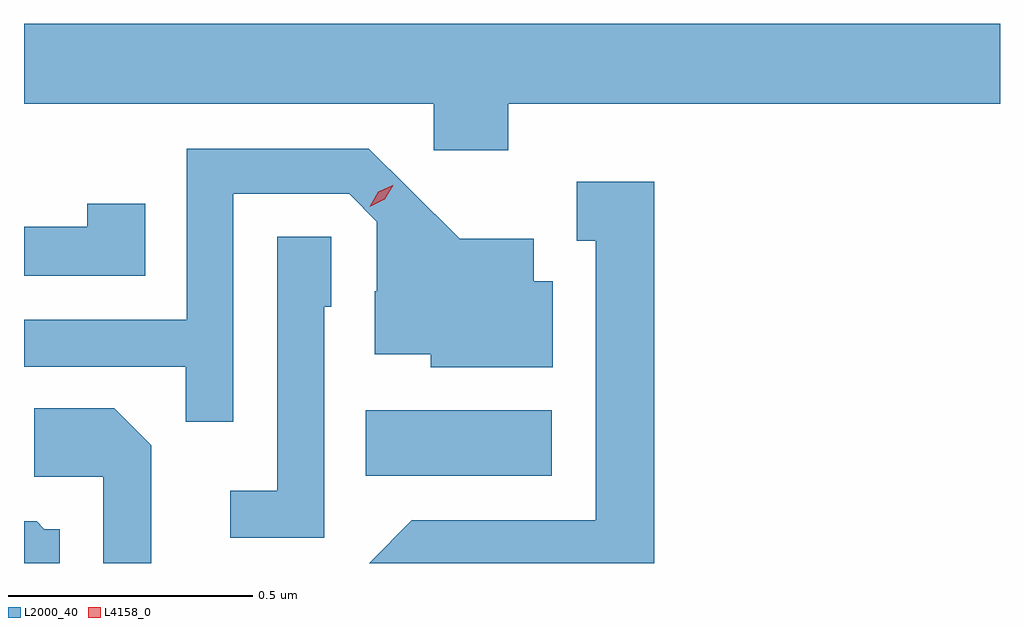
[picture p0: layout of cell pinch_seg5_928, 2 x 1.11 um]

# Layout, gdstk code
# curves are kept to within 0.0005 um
import gdstk
lib = gdstk.Library(unit=1e-6, precision=1e-09)
def R(c, l, rs):  # rectangles x0, y0, x1, y1
    for r in rs: c.add(gdstk.rectangle(r[:2], r[2:], *l))
def P(c, l, *ps):  # polygons
    for p in ps: c.add(gdstk.Polygon(p, *l))
L2000_40 = (2000, 40)
L4158_0 = (4158, 0)

pinch_seg5_928 = lib.new_cell('pinch_seg5_928')
R(pinch_seg5_928, L2000_40, [(706.798,910.61,707.179,910.744)])
P(pinch_seg5_928, L2000_40, [(707.09,911.372),(708.098,911.372),(708.098,911.536),(706.098,911.536),(706.098,911.372),(706.938,911.372),(706.938,911.277),(707.09,911.277)],
  [(706.527,911.187),(706.764,911.187),(706.821,911.13),(706.821,910.988),(706.817,910.988),(706.817,910.859),(706.932,910.859),(706.932,910.832),(707.182,910.832),(707.182,911.008),(707.143,911.008),(707.143,911.095),(706.991,911.095),(706.804,911.28),(706.431,911.28),(706.431,910.929),(706.098,910.929),(706.098,910.833),(706.429,910.833),(706.429,910.72),(706.527,910.72)],
  [(707.389,911.212),(707.231,911.212),(707.231,911.091),(707.27,911.091),(707.27,910.518),(706.893,910.518),(706.805,910.43),(707.389,910.43)],
  [(706.346,911.167),(706.228,911.167),(706.228,911.12),(706.098,911.12),(706.098,911.019),(706.346,911.019)],
  [(706.713,910.956),(706.728,910.956),(706.728,911.099),(706.617,911.099),(706.617,910.579),(706.521,910.579),(706.521,910.482),(706.713,910.482)],
  [(706.359,910.672),(706.283,910.748),(706.119,910.748),(706.119,910.608),(706.26,910.608),(706.26,910.43),(706.359,910.43)],
  [(706.171,910.5),(706.14,910.5),(706.124,910.516),(706.098,910.516),(706.098,910.43),(706.171,910.43)])
P(pinch_seg5_928, L4158_0, [(706.806,911.161),(706.806,911.161),(706.824,911.191),(706.854,911.205),(706.855,911.205),(706.855,911.205),(706.837,911.176),(706.807,911.161)])

lib.write_gds('pinch_seg5_928.gds')
